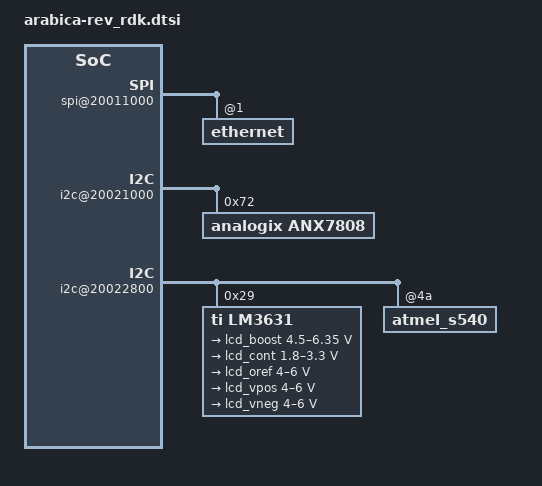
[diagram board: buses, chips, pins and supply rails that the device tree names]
/*
 * This file is for MADK v2.1
 */

/ {
	connectivity {
		wlan@0{
			power_gpio = <120>;
		};
/* sdio start */
		sdhci@0x20006000{
			sdclk = <200>;			/* 200Mhz, UHS104*/
		};
/* sdio end */
	};

	gpio-keys {
		button@1 {
			gpios = <&gpio2 1 1>;
		};
		button@2 {
			gpios = <&gpio2 2 1>;
		};
	};

	soc {

		spi@20011000{
			ethernet@1{
				irq_gpio = <5>;
			};
		};

		max77807_pmic {
			compatible = "maxim,max77807-pmic";
			status = "disable";

			charger {
				compatible = "maxim,max77807-charger";
				status = "disable";
			};
		};

		max77807_peri {
			compatible = "maxim,max77807-periph";
			status = "disable";

			vibrator {
				compatible = "maxim,max77807-motor";
				status = "disable";
			};
		};

		 pmic1: d2260@48 {
			regulators {
				D2260_GPIOCTRL_1 {
					regulator-name = "+1.8V_VT_CAM_IO";
					regulator-enable-gpio = <173>;
				};
			};
		};

		i2c@20021000 {

/* LGE_CHANGE_S
 */
			anx7808@72{
				compatible = "analogix,anx7808";
				status = "ok";
				reg = <0x72>;
				analogix,reset-gpio = <52>; /* PERI_G0_GPIO_BASE(0)+52 */
				analogix,irq-gpio = <51>;   /* PERI_G0_GPIO_BASE(0)+51 */
				analogix,p-dwn-gpio = <53>; /* PERI_G0_GPIO_BASE(0)+53 */
				analogix,v10-ctrl-gpio = <31>;  /* PERI_G0_GPIO_BASE(0)+31 */
				analogix,cbl-det-gpio = <142>;  /* SMS_GPIO_BASE(112)+30 */
				lge,external-ldo-control = <0>; 
			};  
		};


		i2c@20022800{
/* LGE_CHANGE_S
 */
			lm3631@29 {
				compatible = "ti,lm3631";
				status = "ok";
				reg = <0x29>;
				ti,en-gpio = <30>;
				ti,bl-en-gpio = <29>;

                        regulators {
                            compatible = "ti,lm3631-regulator";

                            vboost {
                                regulator-name = "lcd_boost";
                                regulator-min-microvolt = <4500000>;
                                regulator-max-microvolt = <6350000>;
                                regulator-always-on;
                            };

                            vcont {
                                regulator-name = "lcd_cont";
                                regulator-min-microvolt = <1800000>;
                                regulator-max-microvolt = <3300000>;
                            };

                            voref {
                                regulator-compatible = "voref";
                                regulator-name = "lcd_oref";
                                regulator-min-microvolt = <4000000>;
                                regulator-max-microvolt = <6000000>;
                            };

                            vpos {
                                regulator-name = "lcd_vpos";
                                regulator-min-microvolt = <4000000>;
                                regulator-max-microvolt = <6000000>;
                                regulator-always-on;
                            };

                            vneg {
                                regulator-name = "lcd_vneg";
                                regulator-min-microvolt = <4000000>;
                                regulator-max-microvolt = <6000000>;
                                regulator-always-on;
                            };
                        };

				backlight {
					compatible = "ti,lm3631-backlight";
					bl-name = "lcd-backlight";
					blmap_size = <256>;
					initial-brightness = <1619>;
					blmap = <
						1 2 2 3 3 4 5 5 6 6 7 8 8 9 9 10 11 11 12 12 13 14 14
						15 15 16 17 17 18 18 19 20 20 21 21 22 23 23 24 24 25 26
						26 27 27 28 29 29 30 30 31 31 31 32 32 32 32 32 32 33 33
						33 33 34 35 36 37 38 39 40 41 42 43 44 45 46 47 49 50 51
						52 53 54 56 58 59 61 63 65 67 68 70 72 75 77 80 83 86 88
						91 94 96 99 102 105 108 111 114 118 121 124 127 130 133 138
						142 147 152 156 161 166 170 175 179 183 187 191 195 199 203
						207 211 215 219 223 230 237 244 251 257 264 271 278 285 291
						297 303 309 315 320 326 332 338 344 350 357 364 371 378 385
						392 399 406 413 420 428 436 445 453 461 469 477 485 494 502
						510 521 532 543 554 566 577 588 599 610 620 630 640 650 660
						670 680 690 700 710 721 732 743 754 765 775 786 797 808 819
						830 842 854 865 877 889 901 913 925 936 948 960 975 990 1005
						1020 1035 1050 1065 1080 1095 1110 1124 1138 1152 1166 1180
						1194 1208 1222 1236 1250 1268 1285 1303 1320 1338 1355 1373
						1390 1408 1425 1447 1468 1490 1511 1533 1554 1576 1597 1619>;
					full-strings-used;
				};
			};
/* LGE_CHANGE_E */
                    atmel_s540@4a{
                        atmel,reset-gpio = <147>;
                    };
		};

		max77819_peri {
			compatible = "maxim,max77819-periph";

			backlight {
				compatible = "maxim,max77819-wled";
				status = "disable";
			};
		};
	};

	sdhci@0x2000A000{
		sdc_cd_gpio = <146>;
	};

};
